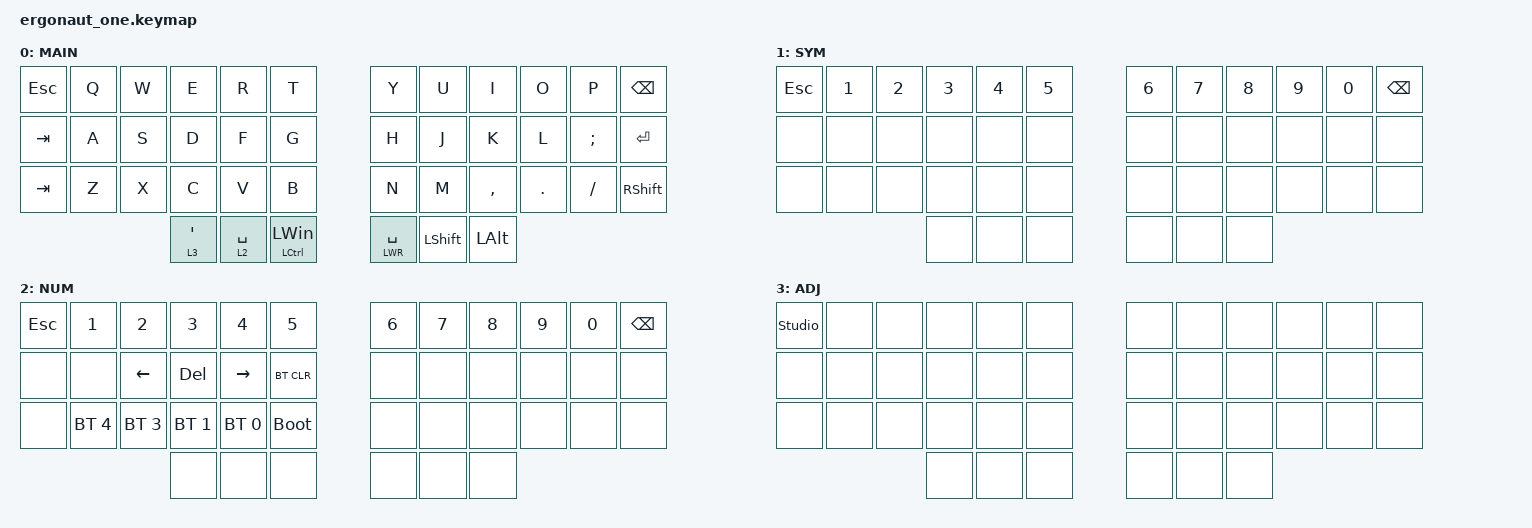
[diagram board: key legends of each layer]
#include <behaviors.dtsi>
#include <dt-bindings/zmk/bt.h>
#include <dt-bindings/zmk/keys.h>

#define DEF 0
#define LWR 1
#define RSE 2
#define ADJ 3

&lt { quick-tap-ms = <200>; };

&mt { quick-tap-ms = <200>; };

/ {
    conditional_layers {
        compatible = "zmk,conditional-layers";

        tri-layer {
            if-layers = <LWR RSE>;
            then-layer = <ADJ>;
        };
    };

    combos {
        compatible = "zmk,combos";

        a {
            bindings = <&kp ESC>;
            key-positions = <2 1>;
        };

        b {
            bindings = <&kp TAB>;
            key-positions = <3 2>;
        };

        c {
            bindings = <&kp CAPSLOCK>;
            key-positions = <14 15>;
        };

        d {
            bindings = <&kp BACKSPACE>;
            key-positions = <10 9>;
        };

        e {
            bindings = <&kp ENTER>;
            key-positions = <21 22>;
        };

        f {
            bindings = <&kp MINUS>;
            key-positions = <19 20>;
        };

        g {
            bindings = <&kp EQUAL>;
            key-positions = <21 20>;
        };
    };

    keymap {
        compatible = "zmk,keymap";

        default_layer {
            display-name = "MAIN";
            bindings = <
&kp ESC  &kp Q  &kp W  &kp E      &kp R        &kp T               &kp Y          &kp U           &kp I         &kp O    &kp P     &kp BSPC
&kp TAB  &kp A  &kp S  &kp D      &kp F        &kp G               &kp H          &kp J           &kp K         &kp L    &kp SEMI  &kp ENTER
&kp TAB  &kp Z  &kp X  &kp C      &kp V        &kp B               &kp N          &kp M           &kp COMMA     &kp DOT  &kp FSLH  &kp RSHFT
                       &lt 3 SQT  &lt 2 SPACE  &mt LCTRL LEFT_WIN  &lt LWR SPACE  &kp LEFT_SHIFT  &kp LEFT_ALT
            >;
        };

        lower_layer {
            display-name = "SYM";
            bindings = <
&kp ESC  &kp N1  &kp N2  &kp N3  &kp N4  &kp N5  &kp N6  &kp N7  &kp N8  &kp N9  &kp N0  &kp BSPC
&none    &none   &none   &none   &none   &none   &none   &none   &none   &none   &none   &none
&none    &none   &none   &none   &none   &none   &none   &none   &none   &none   &none   &none
                         &none   &none   &none   &none   &none   &none
            >;
        };

        raise_layer {
            display-name = "NUM";
            bindings = <
&kp ESC  &kp N1        &kp N2        &kp N3        &kp N4        &kp N5       &kp N6  &kp N7  &kp N8  &kp N9  &kp N0  &kp BSPC
&none    &none         &kp LEFT      &kp DEL       &kp RIGHT     &bt BT_CLR   &none   &none   &none   &none   &none   &none
&none    &bt BT_SEL 4  &bt BT_SEL 3  &bt BT_SEL 1  &bt BT_SEL 0  &bootloader  &none   &none   &none   &none   &none   &none
                                     &none         &none         &none        &none   &none   &none
            >;
        };

        adjust_layer {
            display-name = "ADJ";
            bindings = <
&studio_unlock  &none  &none  &none  &none  &none  &none  &none  &none  &none  &none  &none
&none           &none  &none  &none  &none  &none  &none  &none  &none  &none  &none  &none
&none           &none  &none  &none  &none  &none  &none  &none  &none  &none  &none  &none
                              &none  &none  &none  &none  &none  &none
            >;
        };
    };
};
